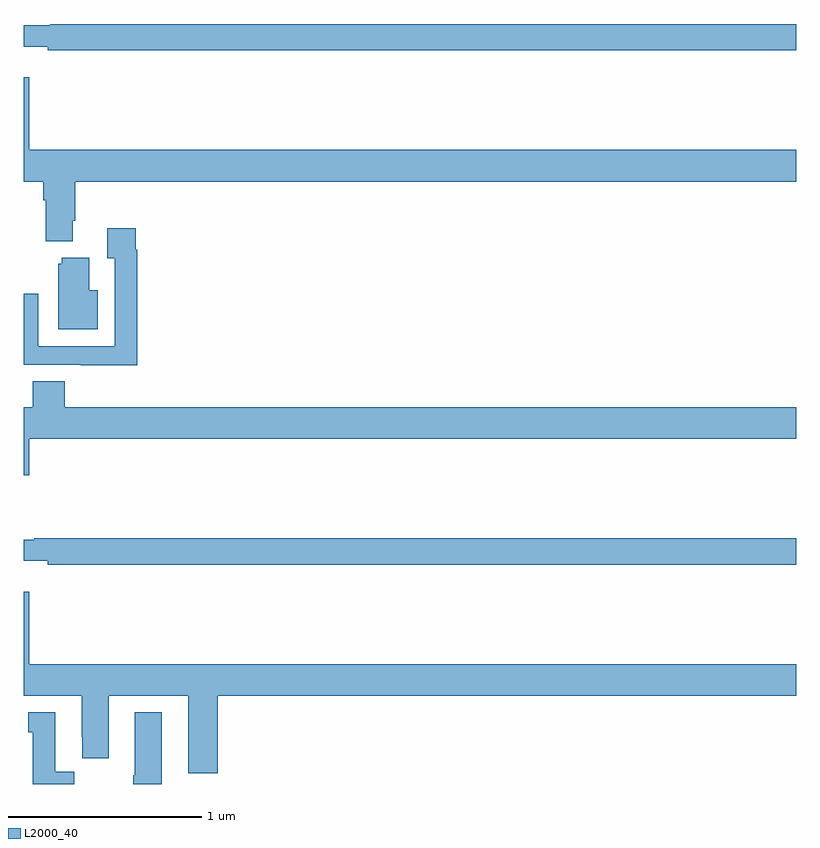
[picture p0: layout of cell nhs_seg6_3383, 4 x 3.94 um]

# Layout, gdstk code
import gdstk
lib = gdstk.Library(unit=1e-6, precision=1e-09)
def P(c, l, *ps):  # polygons
    for p in ps: c.add(gdstk.Polygon(p, *l))
L2000_40 = (2000, 40)

nhs_seg6_3383 = lib.new_cell('nhs_seg6_3383')
P(nhs_seg6_3383, L2000_40, [(313,997.436),(309.137,997.436),(309.137,997.429),(309,997.429),(309,997.319),(309.124,997.319),(309.124,997.3),(313,997.3)],
  [(309.028,997.159),(309,997.159),(309,996.62),(309.101,996.62),(309.101,996.524),(309.113,996.524),(309.113,996.311),(309.253,996.311),(309.253,996.418),(309.266,996.418),(309.266,996.62),(313,996.62),(313,996.784),(309.028,996.784)],
  [(309.587,996.266),(309.58,996.266),(309.58,996.379),(309.431,996.379),(309.431,996.223),(309.471,996.223),(309.471,995.766),(309.075,995.766),(309.075,996.04),(309,996.04),(309,995.67),(309.295,995.67),(309.295,995.669),(309.587,995.669)],
  [(309.382,996.058),(309.34,996.058),(309.34,996.226),(309.197,996.226),(309.197,996.195),(309.179,996.195),(309.179,995.855),(309.382,995.855)],
  [(309.028,995.288),(313,995.288),(313,995.452),(309.212,995.452),(309.212,995.585),(309.047,995.585),(309.047,995.452),(309,995.452),(309,995.1),(309.028,995.1)],
  [(313,994.772),(309.055,994.772),(309.055,994.765),(309,994.765),(309,994.655),(309.124,994.655),(309.124,994.636),(313,994.636)],
  [(310.004,993.956),(313,993.956),(313,994.12),(309.028,994.12),(309.028,994.495),(309,994.495),(309,993.956),(309.299,993.956),(309.299,993.745),(309.302,993.745),(309.302,993.633),(309.439,993.633),(309.439,993.956),(309.851,993.956),(309.851,993.555),(310.004,993.555)],
  [(309.715,993.871),(309.575,993.871),(309.575,993.545),(309.568,993.545),(309.568,993.5),(309.715,993.5)],
  [(309.261,993.563),(309.163,993.563),(309.163,993.871),(309.023,993.871),(309.023,993.768),(309.047,993.768),(309.047,993.5),(309.261,993.5)])

lib.write_gds('nhs_seg6_3383.gds')
